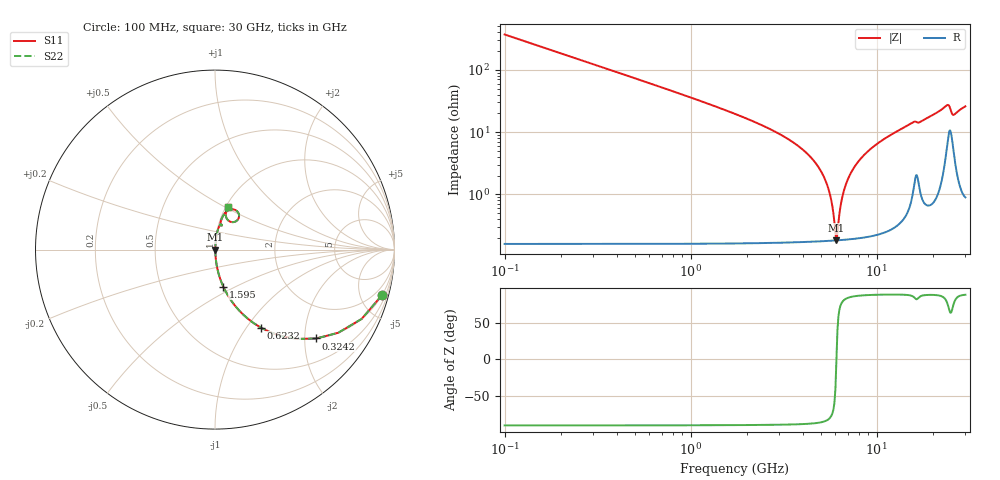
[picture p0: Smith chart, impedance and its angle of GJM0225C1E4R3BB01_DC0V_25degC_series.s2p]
!Murata Part Number: GJM0225C1E4R3BB01
!These Parameters are Measured in Series Mode Connection
!  o--ll--o
!Port1  Port2
!  o------o
!Operation Temp=25[degC], DC Bias Voltage=0[V]
!Freq. Start=100[MHz] Stop=30[GHz], 401[Steps]
!Data Generated on Feb 1, 2023
# Hz S RI R 50
!Freq.(Hz) S11(Real) S11(Imag) S21(Real) S21(Imag) S12(Real) S12(Imag) S22(Real) S22(Imag)
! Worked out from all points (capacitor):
!   401 points, 100 MHz to 30 GHz, reference 50 ohm
!   read as one part in series: C = 4.3 pF near 249.5 MHz
!   lowest |Z| = 182 mohm at 6.08 GHz (marker M1)
!   series resonance near 6.08 GHz, so ESL is about 160 pH
!   S11 on the Smith chart (normalised r, x): 100 MHz: 1.00, -7.40; 324.2 MHz: 1.00, -2.28; 623.2 MHz: 1.00, -1.18; 1.595 GHz: 1.00, -0.43; 30 GHz: 1.02, +0.52
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1e8  0.9318 -0.2518  0.0682 0.2518  0.0682 0.2518  0.9318 -0.2518
3.2425e8  0.5643 -0.4951  0.4357 0.4951  0.4357 0.4951  0.5643 -0.4951
6.2325e8  0.2573 -0.4358  0.7427 0.4358  0.7427 0.4358  0.2573 -0.4358
9.97e8  0.1165 -0.3187  0.8835 0.3187  0.8835 0.3187  0.1165 -0.3187
1.595e9  0.046 -0.2058  0.954 0.2058  0.954 0.2058  0.046 -0.2058
4.1365e9  0.00402 -0.0479  0.996 0.0479  0.996 0.0479  0.00402 -0.0479
5.10825e9  0.00222 -0.0213  0.9978 0.0213  0.9978 0.0213  0.00222 -0.0213
5.55675e9  0.00191 -0.011  0.9981 0.011  0.9981 0.011  0.00191 -0.011
5.9305e9  0.00182 -0.00303  0.9982 0.00303  0.9982 0.00303  0.00182 -0.00303
6.08e9  0.00182 1.3e-06  0.9982 -1.3e-06  0.9982 -1.3e-06  0.00182 1.3e-06
6.2295e9  0.00184 0.00296  0.9982 -0.00296  0.9982 -0.00296  0.00184 0.00296
6.379e9  0.00187 0.00585  0.9981 -0.00585  0.9981 -0.00585  0.00187 0.00585
6.60325e9  0.00196 0.0101  0.998 -0.0101  0.998 -0.0101  0.00196 0.0101
7.276e9  0.00239 0.022  0.9976 -0.022  0.9976 -0.022  0.00239 0.022
8.39725e9  0.00362 0.0401  0.9964 -0.0401  0.9964 -0.0401  0.00362 0.0401
1.01165e10  0.0065 0.0651  0.9935 -0.0651  0.9935 -0.0651  0.0065 0.0651
1.505e10  0.0235 0.1296  0.9765 -0.1296  0.9765 -0.1296  0.0235 0.1296
2.005825e10  0.0409 0.1799  0.9591 -0.1799  0.9591 -0.1799  0.0409 0.1799
2.38705e10  0.1097 0.2223  0.8903 -0.2223  0.8903 -0.2223  0.1097 0.2223
2.50665e10  0.1187 0.159  0.8813 -0.159  0.8813 -0.159  0.1187 0.159
2.588875e10  0.0758 0.1609  0.9242 -0.1609  0.9242 -0.1609  0.0758 0.1609
3e10  0.0703 0.239  0.9297 -0.239  0.9297 -0.239  0.0703 0.239
